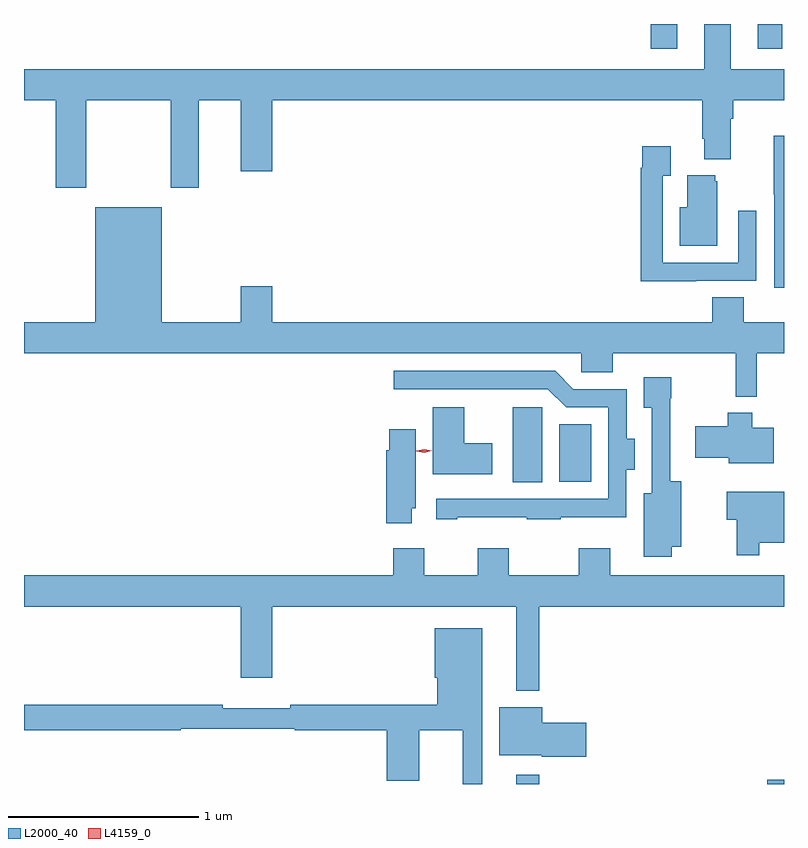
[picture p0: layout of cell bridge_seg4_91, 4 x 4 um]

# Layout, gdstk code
import gdstk
lib = gdstk.Library(unit=1e-6, precision=1e-09)
def R(c, l, rs):  # rectangles x0, y0, x1, y1
    for r in rs: c.add(gdstk.rectangle(r[:2], r[2:], *l))
def P(c, l, *ps):  # polygons
    for p in ps: c.add(gdstk.Polygon(p, *l))
L2000_40 = (2000, 40)
L4159_0 = (4159, 0)

bridge_seg4_91 = lib.new_cell('bridge_seg4_91')
R(bridge_seg4_91, L2000_40, [(466.157,787.894,466.279,787.942), (467.478,787.894,467.566,787.916), (466.139,789.481,466.294,789.876), (466.382,789.485,466.552,789.787), (466.865,791.763,467.005,791.894), (467.429,791.763,467.557,791.894)])
P(bridge_seg4_91, L2000_40, [(463.893,791.492),(464.338,791.492),(464.338,791.031),(464.485,791.031),(464.485,791.492),(464.708,791.492),(464.708,791.118),(464.872,791.118),(464.872,791.492),(467.135,791.492),(467.135,791.29),(467.147,791.29),(467.147,791.183),(467.287,791.183),(467.287,791.396),(467.3,791.396),(467.3,791.492),(467.566,791.492),(467.566,791.656),(467.287,791.656),(467.287,791.894),(467.147,791.894),(467.147,791.656),(463.566,791.656),(463.566,791.492),(463.733,791.492),(463.733,791.031),(463.893,791.031)],
  [(467.566,791.306),(467.512,791.306),(467.512,790.999),(467.514,790.999),(467.514,790.506),(467.566,790.506)],
  [(467.105,790.542),(467.421,790.542),(467.421,790.912),(467.325,790.912),(467.325,790.638),(466.929,790.638),(466.929,791.095),(466.969,791.095),(466.969,791.251),(466.821,791.251),(466.821,791.138),(466.813,791.138),(466.813,790.541),(467.105,790.541)],
  [(467.215,791.067),(467.204,791.067),(467.204,791.098),(467.057,791.098),(467.057,790.93),(467.018,790.93),(467.018,790.727),(467.215,790.727)],
  [(467.423,790.16),(467.566,790.16),(467.566,790.324),(467.354,790.324),(467.354,790.457),(467.189,790.457),(467.189,790.324),(464.872,790.324),(464.872,790.513),(464.708,790.513),(464.708,790.324),(464.29,790.324),(464.29,790.93),(463.94,790.93),(463.94,790.324),(463.566,790.324),(463.566,790.16),(466.5,790.16),(466.5,790.062),(466.664,790.062),(466.664,790.16),(467.313,790.16),(467.313,789.932),(467.423,789.932)],
  [(465.847,789.299),(466.213,789.299),(466.213,789.288),(466.391,789.288),(466.391,789.299),(466.737,789.299),(466.737,789.548),(466.78,789.548),(466.78,789.712),(466.738,789.712),(466.738,789.972),(466.458,789.972),(466.362,790.068),(465.513,790.068),(465.513,789.972),(466.323,789.972),(466.419,789.876),(466.641,789.876),(466.641,789.396),(465.735,789.396),(465.735,789.288),(465.847,789.288)],
  [(466.974,789.143),(467.026,789.143),(467.026,789.487),(466.966,789.487),(466.966,789.923),(466.973,789.923),(466.973,790.036),(466.829,790.036),(466.829,789.875),(466.869,789.875),(466.869,789.424),(466.829,789.424),(466.829,789.09),(466.974,789.09)],
  [(466.03,789.688),(465.883,789.688),(465.883,789.877),(465.716,789.877),(465.716,789.524),(466.03,789.524)],
  [(467.512,789.769),(467.398,789.769),(467.398,789.847),(467.269,789.847),(467.269,789.777),(467.1,789.777),(467.1,789.611),(467.276,789.611),(467.276,789.581),(467.512,789.581)],
  [(465.607,789.345),(465.628,789.345),(465.628,789.76),(465.488,789.76),(465.488,789.651),(465.473,789.651),(465.473,789.267),(465.607,789.267)],
  [(467.437,789.164),(467.566,789.164),(467.566,789.433),(467.264,789.433),(467.264,789.286),(467.316,789.286),(467.316,789.099),(467.437,789.099)],
  [(466.279,788.828),(467.566,788.828),(467.566,788.992),(466.651,788.992),(466.651,789.136),(466.487,789.136),(466.487,788.992),(466.117,788.992),(466.117,789.136),(465.953,789.136),(465.953,788.992),(465.673,788.992),(465.673,789.136),(465.509,789.136),(465.509,788.992),(463.566,788.992),(463.566,788.828),(464.708,788.828),(464.708,788.454),(464.872,788.454),(464.872,788.828),(466.157,788.828),(466.157,788.384),(466.279,788.384)],
  [(465.979,788.713),(465.728,788.713),(465.728,788.454),(465.74,788.454),(465.74,788.312),(464.968,788.312),(464.968,788.293),(464.612,788.293),(464.612,788.312),(463.566,788.312),(463.566,788.176),(464.392,788.176),(464.392,788.184),(464.992,788.184),(464.992,788.176),(465.476,788.176),(465.476,787.911),(465.646,787.911),(465.646,788.176),(465.875,788.176),(465.875,787.894),(465.979,787.894)],
  [(466.525,788.216),(466.294,788.216),(466.294,788.299),(466.067,788.299),(466.067,788.045),(466.29,788.045),(466.29,788.038),(466.525,788.038)])
P(bridge_seg4_91, L4159_0, [(465.672,789.638),(465.632,789.646),(465.631,789.647),(465.632,789.647),(465.672,789.657),(465.712,789.648),(465.712,789.648),(465.712,789.648)])

lib.write_gds('bridge_seg4_91.gds')
